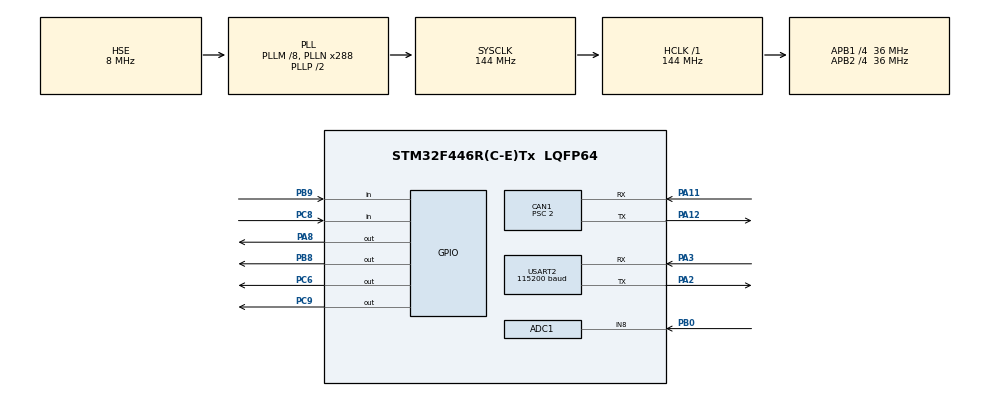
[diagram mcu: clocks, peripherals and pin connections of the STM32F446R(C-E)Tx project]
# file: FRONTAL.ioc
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Mcu.Family=STM32F4
NVIC.CAN1_RX1_IRQn=true\:0\:0\:false\:true\:true\:3\:true\:true
PH0-OSC_IN.Signal=RCC_OSC_IN
RCC.CortexFreq_Value=144000000
ADC1.ContinuousConvMode=ENABLE
CAN1.AWUM=ENABLE
PA11.Mode=Master
PA11.GPIO_PuPd=GPIO_PULLUP
RCC.SYSCLKSource=RCC_SYSCLKSOURCE_PLLCLK
ProjectManager.StackSize=0x400
VP_TIM7_VS_ClockSourceINT.Mode=Enable_Timer
NVIC.ADC_IRQn=true\:0\:0\:false\:true\:true\:5\:true\:true
PA12.Signal=CAN1_TX
NVIC.CAN1_TX_IRQn=true\:0\:0\:false\:true\:true\:1\:true\:true
RCC.HCLKFreq_Value=144000000
RCC.APB2TimFreq_Value=72000000
TIM3.Period=65500
VP_TIM10_VS_ClockSourceINT.Mode=Enable_Timer
Dma.ADC1.0.Direction=DMA_PERIPH_TO_MEMORY
TIM7.Period=4000
NVIC.DMA2_Stream0_IRQn=true\:0\:0\:false\:false\:true\:false\:true
NVIC.CAN1_SCE_IRQn=true\:0\:0\:false\:true\:true\:4\:true\:true
Dma.ADC1.0.MemDataAlignment=DMA_MDATAALIGN_HALFWORD
RCC.AHBFreq_Value=144000000
PH0-OSC_IN.Mode=HSE-External-Clock-Source
ADC1.Channel-0\#ChannelRegularConversion=ADC_CHANNEL_8
RCC.HSE_VALUE=8000000
ADC1.ScanConvMode=ENABLE
TIM3.Prescaler=18
Dma.ADC1.0.PeriphInc=DMA_PINC_DISABLE
SH.ADCx_IN8.0=ADC1_IN8,IN8
PA8.Signal=GPIO_Output
ADC1.SamplingTime-0\#ChannelRegularConversion=ADC_SAMPLETIME_3CYCLES
PH1-OSC_OUT.Mode=HSE-External-Clock-Source
CAN1.Prescaler=2
Mcu.Package=LQFP64
PB9.Signal=GPIO_Input
USART2.VirtualMode=VM_ASYNC
RCC.APB2CLKDivider=RCC_HCLK_DIV4
RCC.APB1TimFreq_Value=72000000
Dma.ADC1.0.FIFOMode=DMA_FIFOMODE_DISABLE
Dma.Request0=ADC1
PC6.GPIO_Speed=GPIO_SPEED_FREQ_VERY_HIGH
NVIC.TIM7_IRQn=true\:0\:0\:false\:true\:true\:6\:true\:true
VP_TIM3_VS_ClockSourceINT.Mode=Internal
PA3.Signal=USART2_RX
CAN1.CalculateTimeQuantum=55.55555555555556
RCC.PLLSourceVirtual=RCC_PLLSOURCE_HSE
TIM10.Prescaler=72
Dma.ADC1.0.Instance=DMA2_Stream0
ADC1.Rank-0\#ChannelRegularConversion=1
PC8.Signal=GPIO_Input
PC6.Signal=GPIO_Output
TIM11.Prescaler=72
RCC.APB1CLKDivider=RCC_HCLK_DIV4
NVIC.USART2_IRQn=true\:0\:0\:false\:false\:true\:true\:true
USART2.BaudRate=115200
VP_TIM11_VS_ClockSourceINT.Mode=Enable_Timer
PA3.Mode=Asynchronous
Dma.ADC1.0.PeriphDataAlignment=DMA_PDATAALIGN_HALFWORD
CAN1.BS2=CAN_BS2_5TQ
CAN1.BS1=CAN_BS1_12TQ
ProjectManager.TargetToolchain=Makefile
Dma.ADC1.0.Mode=DMA_NORMAL
Dma.ADC1.0.Priority=DMA_PRIORITY_LOW
RCC.USBFreq_Value=144000000
PC6.PinState=GPIO_PIN_SET
TIM7.Prescaler=72
board=custom
RCC.VCOOutputFreq_Value=288000000
TIM11.Period=50000
TIM10.Period=50000
RCC.APB2Freq_Value=36000000
PH1-OSC_OUT.Signal=RCC_OSC_OUT
ADC1.DMAContinuousRequests=ENABLE
ADC1.NbrOfConversion=1
Mcu.Name=STM32F446R(C-E)Tx
PA2.Signal=USART2_TX
RCC.SYSCLKFreq_VALUE=144000000
ADC1.master=1
PA12.Mode=Master
PA11.Signal=CAN1_RX
Dma.ADC1.0.MemInc=DMA_MINC_ENABLE
ProjectManager.HeapSize=0x200
NVIC.PriorityGroup=NVIC_PRIORITYGROUP_4
ADC1.NbrOfConversionFlag=1
RCC.PLLM=8
RCC.PLLN=288
PB8.Signal=GPIO_Output
PA2.Mode=Asynchronous
PC9.Signal=GPIO_Output
RCC.APB1Freq_Value=36000000
PB8.GPIO_Speed=GPIO_SPEED_FREQ_VERY_HIGH
PB0.Signal=ADCx_IN8
NVIC.CAN1_RX0_IRQn=true\:0\:0\:false\:true\:true\:2\:true\:true

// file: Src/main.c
/* USER CODE BEGIN Header */
/**
  ******************************************************************************
  * @file           : main.c
  * @brief          : Main program body
  ******************************************************************************
  * @attention
  *
  * <h2><center>&copy; Copyright (c) 2019 STMicroelectronics.
  * All rights reserved.</center></h2>
  *
  * This software component is licensed by ST under BSD 3-Clause license,
  * the "License"; You may not use this file except in compliance with the
  * License. You may obtain a copy of the License at:
  *                        opensource.org/licenses/BSD-3-Clause
  *
  ******************************************************************************
  */
/* USER CODE END Header */

#include "main.h"

ADC_HandleTypeDef hadc1;
DMA_HandleTypeDef hdma_adc1;

CAN_HandleTypeDef hcan1;

TIM_HandleTypeDef htim3;
TIM_HandleTypeDef htim7;
TIM_HandleTypeDef htim10;
TIM_HandleTypeDef htim11;

UART_HandleTypeDef huart2;

/* USER CODE BEGIN PV */
/* Private variables ---------------------------------------------------------*/

#define USE_STEER 1
#define USE_ENCODER 1

// ms beween two messages of same device
#define CAN_SEND_FREQUENCY 200.0
#define CAN_SEND_DELAY (int)(1000.0/CAN_SEND_FREQUENCY)

// Diameter in meters
#define WHEEL_DIAMETER 0.395

#define DEBUG 0
#define CSV 0
#define FULL_DEBUG 1
#define DEBUG_DELAY 200

extern can_stc can;
extern pot_stc pot_1;
extern pot_stc pot_2;
extern pot_stc pot_3;

struct Encoder_Data enc_data_right;
struct Encoder_Settings enc_setting_right;
struct Encoder_Data enc_data_left;
struct Encoder_Settings enc_setting_left;

CAN_FilterTypeDef sFilter;

uint32_t ADC_buffer[4], val[3];
char txt[100];
int multiplier = 1;
int timer_factor = 2;
int calibration_flag = 0;
int inverter_rpm = 0;

int left_sample = 0;
int right_sample = 0;
int left_sample_printable = 0;
int right_sample_printable = 0;

int steer_sample = 0;
int steer_sample_printable = 0;

int adc_conv_compleated = 0;

/* USER CODE END PV */

void SystemClock_Config(void);
static void MX_GPIO_Init(void);
static void MX_DMA_Init(void);
static void MX_USART2_UART_Init(void);
static void MX_CAN1_Init(void);
static void MX_ADC1_Init(void);
static void MX_TIM3_Init(void);
static void MX_TIM7_Init(void);
static void MX_TIM10_Init(void);
static void MX_TIM11_Init(void);
static void MX_NVIC_Init(void);

/* USER CODE BEGIN 0 */
void HAL_ADC_ConvCpltCallback(ADC_HandleTypeDef *hadc) {
  pot_1.val = ADC_buffer[0];
  pot_2.val = ADC_buffer[1];
  pot_3.val = ADC_buffer[2];

  steer_sample++;
  adc_conv_compleated = 1;
}

/* USER CODE END 0 */

int main(void)
{

  /* MCU Configuration--------------------------------------------------------*/

  /* Reset of all peripherals, Initializes the Flash interface and the Systick. */
  HAL_Init();

  /* Configure the system clock */
  SystemClock_Config();

  /* Initialize all configured peripherals */
  MX_GPIO_Init();
  MX_DMA_Init();
  MX_USART2_UART_Init();
  MX_CAN1_Init();
  MX_ADC1_Init();
  MX_TIM3_Init();
  MX_TIM7_Init();
  MX_TIM10_Init();
  MX_TIM11_Init();

  /* Initialize interrupts */
  MX_NVIC_Init();
  /* USER CODE BEGIN 2 */

  sFilter.FilterMode = CAN_FILTERMODE_IDMASK;
  sFilter.FilterIdLow = 0;
  sFilter.FilterIdHigh = 0;
  sFilter.FilterMaskIdHigh = 0;
  sFilter.FilterMaskIdLow = 0;
  sFilter.FilterFIFOAssignment = CAN_FILTER_FIFO0;
  sFilter.FilterBank = 0;
  sFilter.FilterScale = CAN_FILTERSCALE_16BIT;
  sFilter.FilterActivation = ENABLE;
  HAL_CAN_ConfigFilter(&hcan1, &sFilter);

  HAL_CAN_Start(&hcan1);

  HAL_CAN_ActivateNotification(&hcan1, CAN1_RX0_IRQn);
  /* USER CODE END 2 */

  /* Infinite loop */
  /* USER CODE BEGIN WHILE */

  // ------------      CAN      ------------ //
  can.hcan = &hcan1;

  // ------------    ENCODER    ------------ //
  init_encoder_settings(&enc_setting_right, &enc_setting_left);
  init_encoder_data(&enc_setting_right, &enc_data_right, &enc_setting_left, &enc_data_left);

  // ------------ POTENTIOMETER ------------ //
  pot_2.max = 4055;
  pot_2.min = 2516;
  pot_2.range = fabs(pot_2.max - pot_2.min);

  // ------------     TIMERS    ------------ //

  HAL_TIM_Base_Start(&htim3);
  HAL_TIM_Base_Start(&htim7);
  HAL_TIM_Base_Start(&htim10);
  HAL_TIM_Base_Start(&htim11);

  HAL_Delay(1);

  HAL_TIM_Base_Start_IT(&htim7);

  __HAL_TIM_SET_COUNTER(&htim3, 0);
  __HAL_TIM_SET_COUNTER(&htim7, 0);
  __HAL_TIM_SET_COUNTER(&htim10, 0);
  __HAL_TIM_SET_COUNTER(&htim11, 0);

  HAL_Delay(1);

  // Enabling auto retransmit of speed calculated from inverters
  can.dataTx[0] = 0x3D;
  can.dataTx[1] = 0xA8;
  can.dataTx[2] = 0x64;
  can.id = 0x201;
  can.size = 3;
  CAN_Send(&can);

  HAL_Delay(1);

  can.dataTx[0] = 0x3D;
  can.dataTx[1] = 0xA8;
  can.dataTx[2] = 0x64;
  can.id = 0x202;
  can.size = 3;
  CAN_Send(&can);
  /*
  // Enabling auto retransmit of torque calculated from inverters
  can.dataTx[0] = 0x3D;
  can.dataTx[1] = 0xA0;
  can.dataTx[2] = 0x64;
  can.id = 0x201;
  can.size = 3;
  CAN_Send(&can);

  HAL_Delay(10);

  can.dataTx[0] = 0x3D;
  can.dataTx[1] = 0xA0;
  can.dataTx[2] = 0x64;
  can.id = 0x202;
  can.size = 3;
  CAN_Send(&can);
  */

  uint32_t tick = HAL_GetTick();
  uint32_t previous_millis = tick;

  HAL_CAN_ActivateNotification(&hcan1, CAN1_RX0_IRQn);
  HAL_CAN_ActivateNotification(&hcan1, CAN1_RX1_IRQn);

  while (1) {
    /* USER CODE END WHILE */

    /* USER CODE BEGIN 3 */

    tick = HAL_GetTick();

    if(adc_conv_compleated && USE_STEER){
      calc_pot_value(&pot_2, 200);
      adc_conv_compleated = 0;
    }

    if(CSV && enc_data_right.new_data == 1){
      sprintf(txt, "%d.%d;%d.%d;%d.%d;%d.%d;%d;%d\r\n",
              (int)(enc_data_right.speed),
              decimals(enc_data_right.speed),
              (int)(enc_data_right.average_speed),
              decimals(enc_data_right.average_speed),
              (int)(enc_data_right.angle_prec),
              decimals(enc_data_right.angle_prec),
              (int)(enc_data_right.angle),
              decimals(enc_data_right.angle),
              (int)(enc_data_right.delta_angle*1000),
              (int)enc_data_right.wheel_rotation);
      HAL_UART_Transmit(&huart2, (uint8_t *)txt, strlen(txt), 10);
      enc_data_right.new_data = 0;
    }

    if (previous_millis != tick) {
      previous_millis = tick;

      send_CAN_data(tick);

      if (tick % 999 == 0) {
        left_sample_printable = left_sample;
        right_sample_printable = right_sample;
        left_sample = 0;
        right_sample = 0;

        steer_sample_printable = steer_sample;
        steer_sample = 0;

        if(DEBUG && FULL_DEBUG){
          full_debug();
        }
      }

      if (DEBUG && tick % DEBUG_DELAY == 0) {
        if(!CSV && !FULL_DEBUG){
          sprintf(txt, "ENC_L: %d.%d\r\nENC_R: %d.%d\r\nSteer(*1000): %d\r\n",
                  (int)(enc_data_left.average_speed),
                  decimals(enc_data_left.average_speed),
                  (int)(enc_data_right.average_speed),
                  decimals(enc_data_right.average_speed),
                  (int)(pot_2.val_100 * 1000));
          HAL_UART_Transmit(&huart2, (uint8_t *)txt, strlen(txt), 10);
        }
      }
    }
  }
  /* USER CODE END 3 */
}

void SystemClock_Config(void)
{
  RCC_OscInitTypeDef RCC_OscInitStruct = {0};
  RCC_ClkInitTypeDef RCC_ClkInitStruct = {0};

  /** Configure the main internal regulator output voltage
  */
  __HAL_RCC_PWR_CLK_ENABLE();
  __HAL_PWR_VOLTAGESCALING_CONFIG(PWR_REGULATOR_VOLTAGE_SCALE1);
  /** Initializes the CPU, AHB and APB busses clocks
  */
  RCC_OscInitStruct.OscillatorType = RCC_OSCILLATORTYPE_HSE;
  RCC_OscInitStruct.HSEState = RCC_HSE_BYPASS;
  RCC_OscInitStruct.PLL.PLLState = RCC_PLL_ON;
  RCC_OscInitStruct.PLL.PLLSource = RCC_PLLSOURCE_HSE;
  RCC_OscInitStruct.PLL.PLLM = 8;
  RCC_OscInitStruct.PLL.PLLN = 288;
  RCC_OscInitStruct.PLL.PLLP = RCC_PLLP_DIV2;
  RCC_OscInitStruct.PLL.PLLQ = 2;
  RCC_OscInitStruct.PLL.PLLR = 2;
  if (HAL_RCC_OscConfig(&RCC_OscInitStruct) != HAL_OK)
  {
    Error_Handler();
  }
  /** Initializes the CPU, AHB and APB busses clocks
  */
  RCC_ClkInitStruct.ClockType = RCC_CLOCKTYPE_HCLK|RCC_CLOCKTYPE_SYSCLK
                              |RCC_CLOCKTYPE_PCLK1|RCC_CLOCKTYPE_PCLK2;
  RCC_ClkInitStruct.SYSCLKSource = RCC_SYSCLKSOURCE_PLLCLK;
  RCC_ClkInitStruct.AHBCLKDivider = RCC_SYSCLK_DIV1;
  RCC_ClkInitStruct.APB1CLKDivider = RCC_HCLK_DIV4;
  RCC_ClkInitStruct.APB2CLKDivider = RCC_HCLK_DIV4;

  if (HAL_RCC_ClockConfig(&RCC_ClkInitStruct, FLASH_LATENCY_4) != HAL_OK)
  {
    Error_Handler();
  }
}

/**
  * @brief NVIC Configuration.
  * @retval None
  */
static void MX_NVIC_Init(void)
{
  /* CAN1_TX_IRQn interrupt configuration */
  HAL_NVIC_SetPriority(CAN1_TX_IRQn, 0, 0);
  HAL_NVIC_EnableIRQ(CAN1_TX_IRQn);
  /* CAN1_RX0_IRQn interrupt configuration */
  HAL_NVIC_SetPriority(CAN1_RX0_IRQn, 0, 0);
  HAL_NVIC_EnableIRQ(CAN1_RX0_IRQn);
  /* CAN1_RX1_IRQn interrupt configuration */
  HAL_NVIC_SetPriority(CAN1_RX1_IRQn, 0, 0);
  HAL_NVIC_EnableIRQ(CAN1_RX1_IRQn);
  /* CAN1_SCE_IRQn interrupt configuration */
  HAL_NVIC_SetPriority(CAN1_SCE_IRQn, 0, 0);
  HAL_NVIC_EnableIRQ(CAN1_SCE_IRQn);
  /* ADC_IRQn interrupt configuration */
  HAL_NVIC_SetPriority(ADC_IRQn, 0, 0);
  HAL_NVIC_EnableIRQ(ADC_IRQn);
  /* TIM7_IRQn interrupt configuration */
  HAL_NVIC_SetPriority(TIM7_IRQn, 0, 0);
  HAL_NVIC_EnableIRQ(TIM7_IRQn);
}

static void MX_ADC1_Init(void)
{

  ADC_ChannelConfTypeDef sConfig = {0};

  /** Configure the global features of the ADC (Clock, Resolution, Data Alignment and number of conversion)
  */
  hadc1.Instance = ADC1;
  hadc1.Init.ClockPrescaler = ADC_CLOCK_SYNC_PCLK_DIV2;
  hadc1.Init.Resolution = ADC_RESOLUTION_12B;
  hadc1.Init.ScanConvMode = ENABLE;
  hadc1.Init.ContinuousConvMode = ENABLE;
  hadc1.Init.DiscontinuousConvMode = DISABLE;
  hadc1.Init.ExternalTrigConvEdge = ADC_EXTERNALTRIGCONVEDGE_NONE;
  hadc1.Init.ExternalTrigConv = ADC_SOFTWARE_START;
  hadc1.Init.DataAlign = ADC_DATAALIGN_RIGHT;
  hadc1.Init.NbrOfConversion = 1;
  hadc1.Init.DMAContinuousRequests = ENABLE;
  hadc1.Init.EOCSelection = ADC_EOC_SINGLE_CONV;
  if (HAL_ADC_Init(&hadc1) != HAL_OK)
  {
    Error_Handler();
  }
  /** Configure for the selected ADC regular channel its corresponding rank in the sequencer and its sample time.
  */
  sConfig.Channel = ADC_CHANNEL_8;
  sConfig.Rank = 1;
  sConfig.SamplingTime = ADC_SAMPLETIME_3CYCLES;
  if (HAL_ADC_ConfigChannel(&hadc1, &sConfig) != HAL_OK)
  {
    Error_Handler();
  }

}

static void MX_CAN1_Init(void)
{

  hcan1.Instance = CAN1;
  hcan1.Init.Prescaler = 2;
  hcan1.Init.Mode = CAN_MODE_NORMAL;
  hcan1.Init.SyncJumpWidth = CAN_SJW_1TQ;
  hcan1.Init.TimeSeg1 = CAN_BS1_12TQ;
  hcan1.Init.TimeSeg2 = CAN_BS2_5TQ;
  hcan1.Init.TimeTriggeredMode = DISABLE;
  hcan1.Init.AutoBusOff = DISABLE;
  hcan1.Init.AutoWakeUp = ENABLE;
  hcan1.Init.AutoRetransmission = DISABLE;
  hcan1.Init.ReceiveFifoLocked = DISABLE;
  hcan1.Init.TransmitFifoPriority = DISABLE;
  if (HAL_CAN_Init(&hcan1) != HAL_OK)
  {
    Error_Handler();
  }

}

static void MX_TIM3_Init(void)
{

  TIM_ClockConfigTypeDef sClockSourceConfig = {0};
  TIM_MasterConfigTypeDef sMasterConfig = {0};

  htim3.Instance = TIM3;
  htim3.Init.Prescaler = 18;
  htim3.Init.CounterMode = TIM_COUNTERMODE_UP;
  htim3.Init.Period = 65500;
  htim3.Init.ClockDivision = TIM_CLOCKDIVISION_DIV1;
  htim3.Init.AutoReloadPreload = TIM_AUTORELOAD_PRELOAD_DISABLE;
  if (HAL_TIM_Base_Init(&htim3) != HAL_OK)
  {
    Error_Handler();
  }
  sClockSourceConfig.ClockSource = TIM_CLOCKSOURCE_INTERNAL;
  if (HAL_TIM_ConfigClockSource(&htim3, &sClockSourceConfig) != HAL_OK)
  {
    Error_Handler();
  }
  sMasterConfig.MasterOutputTrigger = TIM_TRGO_RESET;
  sMasterConfig.MasterSlaveMode = TIM_MASTERSLAVEMODE_DISABLE;
  if (HAL_TIMEx_MasterConfigSynchronization(&htim3, &sMasterConfig) != HAL_OK)
  {
    Error_Handler();
  }

}

static void MX_TIM7_Init(void)
{

  /* USER CODE BEGIN TIM7_Init 0 */

  // APB1 timer
  // not sure but I think APB1 is at 72 MHz

  /* USER CODE END TIM7_Init 0 */

  TIM_MasterConfigTypeDef sMasterConfig = {0};

  htim7.Instance = TIM7;
  htim7.Init.Prescaler = 72;
  htim7.Init.CounterMode = TIM_COUNTERMODE_UP;
  htim7.Init.Period = 4000;
  htim7.Init.AutoReloadPreload = TIM_AUTORELOAD_PRELOAD_DISABLE;
  if (HAL_TIM_Base_Init(&htim7) != HAL_OK)
  {
    Error_Handler();
  }
  sMasterConfig.MasterOutputTrigger = TIM_TRGO_RESET;
  sMasterConfig.MasterSlaveMode = TIM_MASTERSLAVEMODE_DISABLE;
  if (HAL_TIMEx_MasterConfigSynchronization(&htim7, &sMasterConfig) != HAL_OK)
  {
    Error_Handler();
  }

}

static void MX_TIM10_Init(void)
{

  htim10.Instance = TIM10;
  htim10.Init.Prescaler = 72;
  htim10.Init.CounterMode = TIM_COUNTERMODE_UP;
  htim10.Init.Period = 50000;
  htim10.Init.ClockDivision = TIM_CLOCKDIVISION_DIV1;
  htim10.Init.AutoReloadPreload = TIM_AUTORELOAD_PRELOAD_DISABLE;
  if (HAL_TIM_Base_Init(&htim10) != HAL_OK)
  {
    Error_Handler();
  }

}

static void MX_TIM11_Init(void)
{

  htim11.Instance = TIM11;
  htim11.Init.Prescaler = 72;
  htim11.Init.CounterMode = TIM_COUNTERMODE_UP;
  htim11.Init.Period = 50000;
  htim11.Init.ClockDivision = TIM_CLOCKDIVISION_DIV1;
  htim11.Init.AutoReloadPreload = TIM_AUTORELOAD_PRELOAD_DISABLE;
  if (HAL_TIM_Base_Init(&htim11) != HAL_OK)
  {
    Error_Handler();
  }

}

static void MX_USART2_UART_Init(void)
{

  huart2.Instance = USART2;
  huart2.Init.BaudRate = 115200;
  huart2.Init.WordLength = UART_WORDLENGTH_8B;
  huart2.Init.StopBits = UART_STOPBITS_1;
  huart2.Init.Parity = UART_PARITY_NONE;
  huart2.Init.Mode = UART_MODE_TX_RX;
  huart2.Init.HwFlowCtl = UART_HWCONTROL_NONE;
  huart2.Init.OverSampling = UART_OVERSAMPLING_16;
  if (HAL_UART_Init(&huart2) != HAL_OK)
  {
    Error_Handler();
  }

}

static void MX_DMA_Init(void)
{

  /* DMA controller clock enable */
  __HAL_RCC_DMA2_CLK_ENABLE();

  /* DMA interrupt init */
  /* DMA2_Stream0_IRQn interrupt configuration */
  HAL_NVIC_SetPriority(DMA2_Stream0_IRQn, 0, 0);
  HAL_NVIC_EnableIRQ(DMA2_Stream0_IRQn);

}

static void MX_GPIO_Init(void)
{
  GPIO_InitTypeDef GPIO_InitStruct = {0};

  /* GPIO Ports Clock Enable */
  __HAL_RCC_GPIOH_CLK_ENABLE();
  __HAL_RCC_GPIOA_CLK_ENABLE();
  __HAL_RCC_GPIOB_CLK_ENABLE();
  __HAL_RCC_GPIOC_CLK_ENABLE();

  /*Configure GPIO pin Output Level */
  HAL_GPIO_WritePin(GPIOC, GPIO_PIN_6, GPIO_PIN_SET);

  /*Configure GPIO pin Output Level */
  HAL_GPIO_WritePin(GPIOC, GPIO_PIN_9, GPIO_PIN_RESET);

  /*Configure GPIO pin Output Level */
  HAL_GPIO_WritePin(GPIOA, GPIO_PIN_8, GPIO_PIN_RESET);

  /*Configure GPIO pin Output Level */
  HAL_GPIO_WritePin(GPIOB, GPIO_PIN_8, GPIO_PIN_RESET);

  /*Configure GPIO pin : PC6 */
  GPIO_InitStruct.Pin = GPIO_PIN_6;
  GPIO_InitStruct.Mode = GPIO_MODE_OUTPUT_PP;
  GPIO_InitStruct.Pull = GPIO_NOPULL;
  GPIO_InitStruct.Speed = GPIO_SPEED_FREQ_VERY_HIGH;
  HAL_GPIO_Init(GPIOC, &GPIO_InitStruct);

  /*Configure GPIO pin : PC8 */
  GPIO_InitStruct.Pin = GPIO_PIN_8;
  GPIO_InitStruct.Mode = GPIO_MODE_INPUT;
  GPIO_InitStruct.Pull = GPIO_NOPULL;
  HAL_GPIO_Init(GPIOC, &GPIO_InitStruct);

  /*Configure GPIO pin : PC9 */
  GPIO_InitStruct.Pin = GPIO_PIN_9;
  GPIO_InitStruct.Mode = GPIO_MODE_OUTPUT_PP;
  GPIO_InitStruct.Pull = GPIO_NOPULL;
  GPIO_InitStruct.Speed = GPIO_SPEED_FREQ_LOW;
  HAL_GPIO_Init(GPIOC, &GPIO_InitStruct);

  /*Configure GPIO pin : PA8 */
  GPIO_InitStruct.Pin = GPIO_PIN_8;
  GPIO_InitStruct.Mode = GPIO_MODE_OUTPUT_PP;
  GPIO_InitStruct.Pull = GPIO_NOPULL;
  GPIO_InitStruct.Speed = GPIO_SPEED_FREQ_LOW;
  HAL_GPIO_Init(GPIOA, &GPIO_InitStruct);

  /*Configure GPIO pin : PB8 */
  GPIO_InitStruct.Pin = GPIO_PIN_8;
  GPIO_InitStruct.Mode = GPIO_MODE_OUTPUT_PP;
  GPIO_InitStruct.Pull = GPIO_NOPULL;
  GPIO_InitStruct.Speed = GPIO_SPEED_FREQ_VERY_HIGH;
  HAL_GPIO_Init(GPIOB, &GPIO_InitStruct);

  /*Configure GPIO pin : PB9 */
  GPIO_InitStruct.Pin = GPIO_PIN_9;
  GPIO_InitStruct.Mode = GPIO_MODE_INPUT;
  GPIO_InitStruct.Pull = GPIO_NOPULL;
  HAL_GPIO_Init(GPIOB, &GPIO_InitStruct);

}

/* USER CODE BEGIN 4 */

void HAL_CAN_RxFifo0FullCallback(CAN_HandleTypeDef *hcan) {
  /// CALIBRATION CODE///
  int id = CAN_Receive(&can);

  if (id == 0xD4){
    uint32_t rotations = 0;
    rotations = (can.dataRx[0] << 16) + (can.dataRx[1] << 8) + (can.dataRx[2]);

    enc_data_left .wheel_rotation = rotations;
    enc_data_right.wheel_rotation = rotations;
    enc_data_left .Km = rotations * enc_setting_left .wheel_diameter * (M_PI);
    enc_data_right.Km = rotations * enc_setting_right.wheel_diameter * (M_PI);
  }

  if (id == 0xBB) {
    if ((can.dataRx[0] == 2) && (can.dataRx[1] == 0)) {
      set_min(&pot_2);
      calibration_flag = 1;

      can.dataTx[0] = 2;
      can.dataTx[1] = 0;
      can.dataTx[2] = 0;
      can.dataTx[3] = 0;
      can.dataTx[4] = 0;
      can.dataTx[5] = 0;
      can.dataTx[6] = 0;
      can.dataTx[7] = 0;
      can.id = 0xBC;
      can.size = 8;
      CAN_Send(&can);
    }
    if ((can.dataRx[0] == 2) && (can.dataRx[1] == 1)) {
      set_max(&pot_2);
      calibration_flag = 0;

      can.dataTx[0] = 2;
      can.dataTx[1] = 1;
      can.dataTx[2] = 0;
      can.dataTx[3] = 0;
      can.dataTx[4] = 0;
      can.dataTx[5] = 0;
      can.dataTx[6] = 0;
      can.dataTx[7] = 0;
      can.id = 0xBC;
      can.size = 8;
      CAN_Send(&can);
    }
    pot_2.range = fabs(pot_2.max - pot_2.min);
    float max_tmp = pot_2.max;
    float min_tmp = pot_2.min;
    if (max_tmp > min_tmp) {
      pot_2.max = max_tmp;
      pot_2.min = min_tmp;
    }
    if (max_tmp < min_tmp) {
      pot_2.max = min_tmp;
      pot_2.min = max_tmp;
    }
  }

  // TIMER Interrupt setup via CAN Message
  if (id == 195 && can.dataRx[0] == 1) {
    multiplier = can.dataRx[1] * 256 + can.dataRx[2];
  }
}

void HAL_TIM_PeriodElapsedCallback(TIM_HandleTypeDef *htim) {

  if (htim == &htim7) {
    if (USE_ENCODER) {
      left_sample++;
      right_sample++;
      encoder_tim_interrupt(&enc_setting_right, &enc_data_right);
      encoder_tim_interrupt(&enc_setting_left, &enc_data_left);
    }

    if(USE_STEER){
      // Start conversion of 3 ADC
      HAL_ADC_Start_DMA(&hadc1, ADC_buffer, 3);
    }
  }
}

void send_CAN_data(uint32_t millis) {
  int increment_value = 1;

  if (USE_ENCODER) {
    if (millis % CAN_SEND_DELAY == 0) {
      double left_buffer  = enc_data_left.average_speed;
      double right_buffer = enc_data_right.average_speed;

      if (left_buffer < 0)
        left_buffer *= -1;
      if (right_buffer < 0)
        right_buffer *= -1;

      uint32_t left_rads  = (uint32_t)(left_buffer * 10000);
      uint32_t right_rads = (uint32_t)(right_buffer * 10000);

      can.dataTx[0] = (uint8_t)(left_rads >> 16 );
      can.dataTx[1] = (uint8_t)(left_rads >> 8  );
      can.dataTx[2] = (uint8_t)(left_rads       );
      can.dataTx[3] = (uint8_t)(right_rads >> 16);
      can.dataTx[4] = (uint8_t)(right_rads >> 8 );
      can.dataTx[5] = (uint8_t)(right_rads      );
      can.dataTx[6] = enc_data_left.speed_sign;
      can.dataTx[7] = enc_data_right.speed_sign;
      can.id = 0xD0;
      can.size = 8;
      CAN_Send(&can);
    }

    millis += increment_value;

    //-------------------SEND Encoder ROTATIONS-------------------//

    if (millis % CAN_SEND_DELAY == 0) {
      uint32_t rotations  = enc_data_left.wheel_rotation;
      uint32_t km         = enc_data_left.Km;

      can.dataTx[0] = (uint8_t)(rotations >> 16 );
      can.dataTx[1] = (uint8_t)(rotations >> 8  );
      can.dataTx[2] = (uint8_t)(rotations       );
      can.dataTx[3] = (uint8_t)(km >> 16        );
      can.dataTx[4] = (uint8_t)(km >> 8         );
      can.dataTx[5] = (uint8_t)(km              );
      can.dataTx[6] = (uint8_t)(enc_data_left.error_flag);
      can.dataTx[7] = (uint8_t)(enc_data_right.error_flag);
      can.id = 0xD1;
      can.size = 8;
      CAN_Send(&can);
    }

    millis += increment_value;

    //-------------------SEND Encoder-------------------//
    if (millis % CAN_SEND_DELAY == 0) {
      double right_buffer = enc_data_right.average_speed;
      if (right_buffer < 0)
        right_buffer *= -1;

      uint32_t speed_kmh  = (uint32_t)((right_buffer * ((enc_setting_right.wheel_diameter / 2) * 3.6))*1000);
      uint32_t km         = enc_data_left.Km;

      can.dataTx[0] = (uint8_t)(speed_kmh >> 16   );
      can.dataTx[1] = (uint8_t)(speed_kmh >> 8    );
      can.dataTx[2] = (uint8_t)(speed_kmh         );
      can.dataTx[3] = (uint8_t)(enc_data_right.speed_sign);
      can.dataTx[4] = (uint8_t)(km >> 16          );
      can.dataTx[5] = (uint8_t)(km >> 8           );
      can.dataTx[6] = (uint8_t)(km                );
      can.dataTx[7] = (uint8_t)(enc_setting_left.wheel_diameter*1000);
      can.id = 0xD2;
      can.size = 8;
      CAN_Send(&can);
    }

    millis += increment_value;

    //--------------------ENCODER DEBUG DATA--------------------//
    if (millis % CAN_SEND_DELAY == 0) {
      uint16_t la = (uint16_t)(enc_data_left.angle * 100);
      uint16_t ra = (uint16_t)(enc_data_right.angle * 100);
      uint16_t da = (uint16_t)(enc_data_right.delta_angle * 100);

      can.dataTx[0] = (uint8_t)(la >> 8 );
      can.dataTx[1] = (uint8_t)(la      );
      can.dataTx[2] = (uint8_t)(ra >> 8 );
      can.dataTx[3] = (uint8_t)(ra      );
      can.dataTx[4] = (uint8_t)(da >> 8 );
      can.dataTx[5] = (uint8_t)(da      );
      can.dataTx[6] = (uint8_t)(enc_setting_left.frequency);
      can.dataTx[7] = (uint8_t)(enc_setting_right.frequency);
      can.id = 0xD3;
      can.size = 8;
      CAN_Send(&can);
    }

    millis += increment_value;
  }

  if (USE_STEER) {
    //--------------------SEND Steer--------------------//
    if (millis % CAN_SEND_DELAY == 0) {
      if (calibration_flag == 0) {
        uint16_t angle = pot_2.val_100 * 100;

        can.dataTx[0] = 2;
        can.dataTx[1] = (uint8_t)(angle >> 8);
        can.dataTx[2] = (uint8_t)(angle);
        can.dataTx[3] = 0;
        can.dataTx[4] = 0;
        can.dataTx[5] = 0;
        can.dataTx[6] = 0;
        can.dataTx[7] = 0;
        can.id = 0xC0;
        can.size = 8;
        CAN_Send(&can);
      }
    }
  }
}

void init_encoder_settings(struct Encoder_Settings *right, struct Encoder_Settings *left) {
  //---------------- RIGHT ----------------//
  right->steer_enc_prescaler = CAN_SEND_DELAY / 2;

  right->DataPinName          = GPIOC;
  right->ClockPinName         = GPIOC;
  right->DataPinNumber        = GPIO_PIN_8;
  right->ClockPinNumber       = GPIO_PIN_6;

  right->dx_wheel             = 1;
  right->interrupt_flag       = 0;
  right->clock_timer          = &htim3;
  right->wheel_diameter       = WHEEL_DIAMETER;
  right->clock_period         = 4;
  right->data_size            = 15;
  right->speed_size           = 10;

  right->max_delta_angle      = M_PI/2;
  right->frequency_timer      = &htim7;
  right->frequency_timer_Hz   = 72000000;
  right->frequency            = right->frequency_timer_Hz / (htim7.Init.Prescaler * htim7.Init.Period);

  right->microsecond_timer    = &htim10;

  right->conversion = (((double)encoder_Power(2, right->data_size))/(2*M_PI));

  //---------------- LEFT ----------------//
  left->steer_enc_prescaler   = CAN_SEND_DELAY / 2;

  left->DataPinName           = GPIOB;
  left->ClockPinName          = GPIOB;
  left->DataPinNumber         = GPIO_PIN_9;
  left->ClockPinNumber        = GPIO_PIN_8;

  left->dx_wheel              = 0;
  left->interrupt_flag        = 0;
  left->clock_timer           = &htim3;
  left->wheel_diameter        = WHEEL_DIAMETER;
  left->clock_period          = 2;
  left->data_size             = 15;
  left->speed_size            = 10;

  left->max_delta_angle       = right->max_delta_angle;
  left->frequency_timer       = &htim7;
  left->frequency_timer_Hz    = 72000000;
  left->frequency             = right->frequency_timer_Hz / (htim7.Init.Prescaler * htim7.Init.Period);

  left->microsecond_timer    = &htim11;

  left->conversion = (((double)encoder_Power(2, left->data_size))/(2*M_PI));

  // CLOCK PINS TO HIGH
  HAL_GPIO_WritePin(right->ClockPinName, right->ClockPinNumber, GPIO_PIN_SET);
  HAL_GPIO_WritePin(left->ClockPinName,  left->ClockPinNumber,  GPIO_PIN_SET);
}

void init_encoder_data(struct Encoder_Settings *right, struct Encoder_Data *right_d,
                       struct Encoder_Settings *left, struct Encoder_Data *left_d) {
  // RIGHT
  right_d->Km = 0;
  right_d->average_speed = 0;
  right_d->wheel_rotation = 0;

  right_d->binary_data = malloc(sizeof(int) * right->data_size);
  memset(right_d->binary_data, 0, sizeof(int) * right->data_size);
  right_d->speed_array = malloc(sizeof(double) * right->speed_size);
  memset(right_d->speed_array, 0, sizeof(double) * right->speed_size);

  // LEFT
  left_d->Km = 0;
  left_d->average_speed = 0;
  left_d->wheel_rotation = 0;

  left_d->binary_data = malloc(sizeof(int) * left->data_size);
  memset(left_d->binary_data, 0, sizeof(int) * left->data_size);
  left_d->speed_array = malloc(sizeof(double) * left->speed_size);
  memset(left_d->speed_array, 0, sizeof(double) * left->speed_size);
}

int decimals(double number){
  return abs(1000*(floor(number) - number));
}

void full_debug(){
  // ALL DATA
  char* str = "\n\n________________________________________________________________________\r\n";
  HAL_UART_Transmit(&huart2, (uint8_t *)str, strlen(str), 10);
  str = "DATA\t\t\t| LEFT\t\t\t| RIGHT\r\n";
  HAL_UART_Transmit(&huart2, (uint8_t *)str, strlen(str), 10);

  // Encoder Raw Data
  sprintf(txt, "Raw:\t\t\t| %d%d%d%d%d%d%d%d%d%d%d%d%d%d%d  %d",
          enc_data_left.binary_data[0],
          enc_data_left.binary_data[1],
          enc_data_left.binary_data[2],
          enc_data_left.binary_data[3],
          enc_data_left.binary_data[4],
          enc_data_left.binary_data[5],
          enc_data_left.binary_data[6],
          enc_data_left.binary_data[7],
          enc_data_left.binary_data[8],
          enc_data_left.binary_data[9],
          enc_data_left.binary_data[10],
          enc_data_left.binary_data[11],
          enc_data_left.binary_data[12],
          enc_data_left.binary_data[13],
          enc_data_left.binary_data[14],
          enc_data_left.error_flag);
  HAL_UART_Transmit(&huart2, (uint8_t *)txt, strlen(txt), 10);

  sprintf(txt, "\t| %d%d%d%d%d%d%d%d%d%d%d%d%d%d%d  %d\r\n\n",
          enc_data_right.binary_data[0],
          enc_data_right.binary_data[1],
          enc_data_right.binary_data[2],
          enc_data_right.binary_data[3],
          enc_data_right.binary_data[4],
          enc_data_right.binary_data[5],
          enc_data_right.binary_data[6],
          enc_data_right.binary_data[7],
          enc_data_right.binary_data[8],
          enc_data_right.binary_data[9],
          enc_data_right.binary_data[10],
          enc_data_right.binary_data[11],
          enc_data_right.binary_data[12],
          enc_data_right.binary_data[13],
          enc_data_right.binary_data[14],
          enc_data_right.error_flag);
  HAL_UART_Transmit(&huart2, (uint8_t *)txt, strlen(txt), 10);
  // Encoder calcuated speeds
  sprintf(txt, "Speed [rads*1000]:\t| %d\t\t\t| %d\r\n",
          (int)(enc_data_left.average_speed * 1000),
          (int)(enc_data_right.average_speed * 1000));
  HAL_UART_Transmit(&huart2, (uint8_t *)txt, strlen(txt), 10);
  sprintf(txt, "Angle [rad*1000]:\t| %d\t\t\t| %d\r\n",
          (int)(enc_data_left.angle * 1000),
          (int)(enc_data_right.angle * 1000));
  HAL_UART_Transmit(&huart2, (uint8_t *)txt, strlen(txt), 10);
  sprintf(txt, "Km:\t\t\t| %d\t\t\t| %d\r\n",
          (int)(enc_data_left.Km * 1000),
          (int)(enc_data_right.Km * 1000));
  HAL_UART_Transmit(&huart2, (uint8_t *)txt, strlen(txt), 10);
  sprintf(txt, "Rotations:\t\t| %d\t\t\t| %d\r\n\n",
          (int)(enc_data_left.wheel_rotation),
          (int)(enc_data_right.wheel_rotation));
  HAL_UART_Transmit(&huart2, (uint8_t *)txt, strlen(txt), 10);
  // Encoder Frequency
  sprintf(txt, "Callbacks:\t\t| %d\t\t\t| %d\r\n",
          (int)(left_sample_printable),
          (int)(right_sample_printable));
  HAL_UART_Transmit(&huart2, (uint8_t *)txt, strlen(txt), 10);
  sprintf(txt, "Frequency:\t\t| %d\t\t\t| %d\r\n",
          (int)(enc_setting_left.frequency),
          (int)(enc_setting_right.frequency));
  HAL_UART_Transmit(&huart2, (uint8_t *)txt, strlen(txt), 10);
  str = "________________________________________________________________________\r\n";
  HAL_UART_Transmit(&huart2, (uint8_t *)str, strlen(str), 10);

  // Steer
  str = "DATA\t\t\t| STEER\t\t\t| \r\n";
  HAL_UART_Transmit(&huart2, (uint8_t *)str, strlen(str), 10);

  sprintf(txt, "Raw:\t\t\t| %d\r\n",
          (pot_2.val));
  HAL_UART_Transmit(&huart2, (uint8_t *)txt, strlen(txt), 10);
  sprintf(txt, "Converted:\t\t| %d\r\n",
          (int)(pot_2.val_100 * 1000));
  HAL_UART_Transmit(&huart2, (uint8_t *)txt, strlen(txt), 10);
  sprintf(txt, "Callbacks:\t\t| %d\r\n",
          steer_sample_printable);
  HAL_UART_Transmit(&huart2, (uint8_t *)txt, strlen(txt), 10);

  str = "________________________________________________________________________\r\n";
  HAL_UART_Transmit(&huart2, (uint8_t *)str, strlen(str), 10);
  sprintf(txt, "CAN_SEND FREQUENCY:\t| %d\r\n",
          CAN_SEND_DELAY);
  HAL_UART_Transmit(&huart2, (uint8_t *)txt, strlen(txt), 10);

  str = "________________________________________________________________________\r\n\n\n";
  HAL_UART_Transmit(&huart2, (uint8_t *)str, strlen(str), 10);
}

/* USER CODE END 4 */

void Error_Handler(void)
{
  while (1) {
  }
}

/************************ (C) COPYRIGHT STMicroelectronics *****END OF FILE****/
